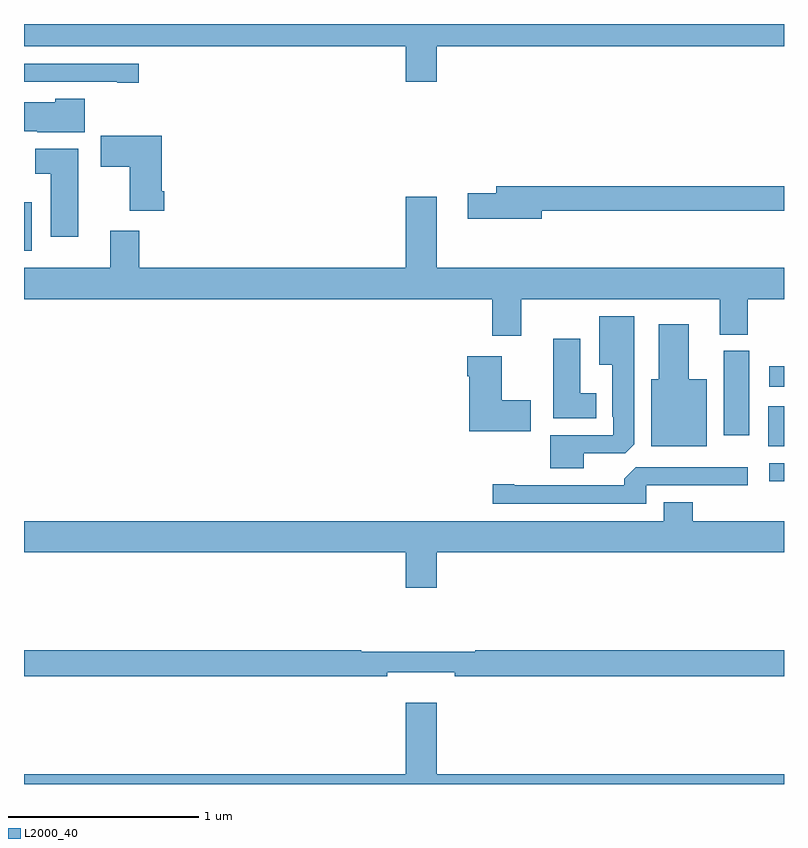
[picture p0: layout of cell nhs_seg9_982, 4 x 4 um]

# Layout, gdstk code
import gdstk
lib = gdstk.Library(unit=1e-6, precision=1e-09)
def R(c, l, rs):  # rectangles x0, y0, x1, y1
    for r in rs: c.add(gdstk.rectangle(r[:2], r[2:], *l))
def P(c, l, *ps):  # polygons
    for p in ps: c.add(gdstk.Polygon(p, *l))
L2000_40 = (2000, 40)

nhs_seg9_982 = lib.new_cell('nhs_seg9_982')
R(nhs_seg9_982, L2000_40, [(166.923,1230.093,167,1230.189), (166.916,1230.278,167,1230.487), (166.682,1230.336,166.816,1230.78), (166.923,1230.591,167,1230.7), (163,1231.307,163.042,1231.561)])
P(nhs_seg9_982, L2000_40, [(165.172,1232.384),(167,1232.384),(167,1232.5),(163,1232.5),(163,1232.384),(165.008,1232.384),(165.008,1232.196),(165.172,1232.196)],
  [(163.603,1232.292),(163,1232.292),(163,1232.196),(163.49,1232.196),(163.49,1232.191),(163.603,1232.191)],
  [(163.321,1232.107),(163.164,1232.107),(163.164,1232.089),(163,1232.089),(163,1231.935),(163.069,1231.935),(163.069,1231.931),(163.321,1231.931)],
  [(163.739,1231.621),(163.726,1231.621),(163.726,1231.912),(163.404,1231.912),(163.404,1231.75),(163.556,1231.75),(163.556,1231.517),(163.739,1231.517)],
  [(163.285,1231.843),(163.058,1231.843),(163.058,1231.712),(163.142,1231.712),(163.142,1231.38),(163.285,1231.38)],
  [(165.724,1231.518),(167,1231.518),(167,1231.646),(165.485,1231.646),(165.485,1231.61),(165.336,1231.61),(165.336,1231.475),(165.724,1231.475)],
  [(165.616,1231.052),(166.661,1231.052),(166.661,1230.865),(166.809,1230.865),(166.809,1231.052),(167,1231.052),(167,1231.216),(165.172,1231.216),(165.172,1231.591),(165.008,1231.591),(165.008,1231.216),(163.607,1231.216),(163.607,1231.411),(163.454,1231.411),(163.454,1231.216),(163,1231.216),(163,1231.052),(165.464,1231.052),(165.464,1230.858),(165.616,1230.858)],
  [(165.946,1230.24),(166.164,1230.24),(166.213,1230.289),(166.213,1230.961),(166.028,1230.961),(166.028,1230.707),(166.097,1230.707),(166.097,1230.433),(166.101,1230.433),(166.101,1230.336),(165.77,1230.336),(165.77,1230.161),(165.946,1230.161)],
  [(166.594,1230.631),(166.498,1230.631),(166.498,1230.919),(166.34,1230.919),(166.34,1230.631),(166.301,1230.631),(166.301,1230.278),(166.594,1230.278)],
  [(166.012,1230.556),(165.928,1230.556),(165.928,1230.844),(165.785,1230.844),(165.785,1230.425),(166.012,1230.425)],
  [(165.667,1230.519),(165.514,1230.519),(165.514,1230.751),(165.332,1230.751),(165.332,1230.647),(165.344,1230.647),(165.344,1230.356),(165.667,1230.356)],
  [(166.275,1230.072),(166.81,1230.072),(166.81,1230.168),(166.221,1230.168),(166.16,1230.106),(166.16,1230.072),(165.58,1230.072),(165.58,1230.077),(165.468,1230.077),(165.468,1229.976),(166.275,1229.976)],
  [(165.172,1229.72),(167,1229.72),(167,1229.884),(166.52,1229.884),(166.52,1229.983),(166.367,1229.983),(166.367,1229.884),(163,1229.884),(163,1229.72),(165.008,1229.72),(165.008,1229.532),(165.172,1229.532)],
  [(164.912,1229.087),(165.268,1229.087),(165.268,1229.068),(167,1229.068),(167,1229.204),(165.376,1229.204),(165.376,1229.197),(164.776,1229.197),(164.776,1229.204),(163,1229.204),(163,1229.068),(164.912,1229.068)],
  [(167,1228.552),(165.172,1228.552),(165.172,1228.927),(165.008,1228.927),(165.008,1228.552),(163,1228.552),(163,1228.5),(167,1228.5)])

lib.write_gds('nhs_seg9_982.gds')
